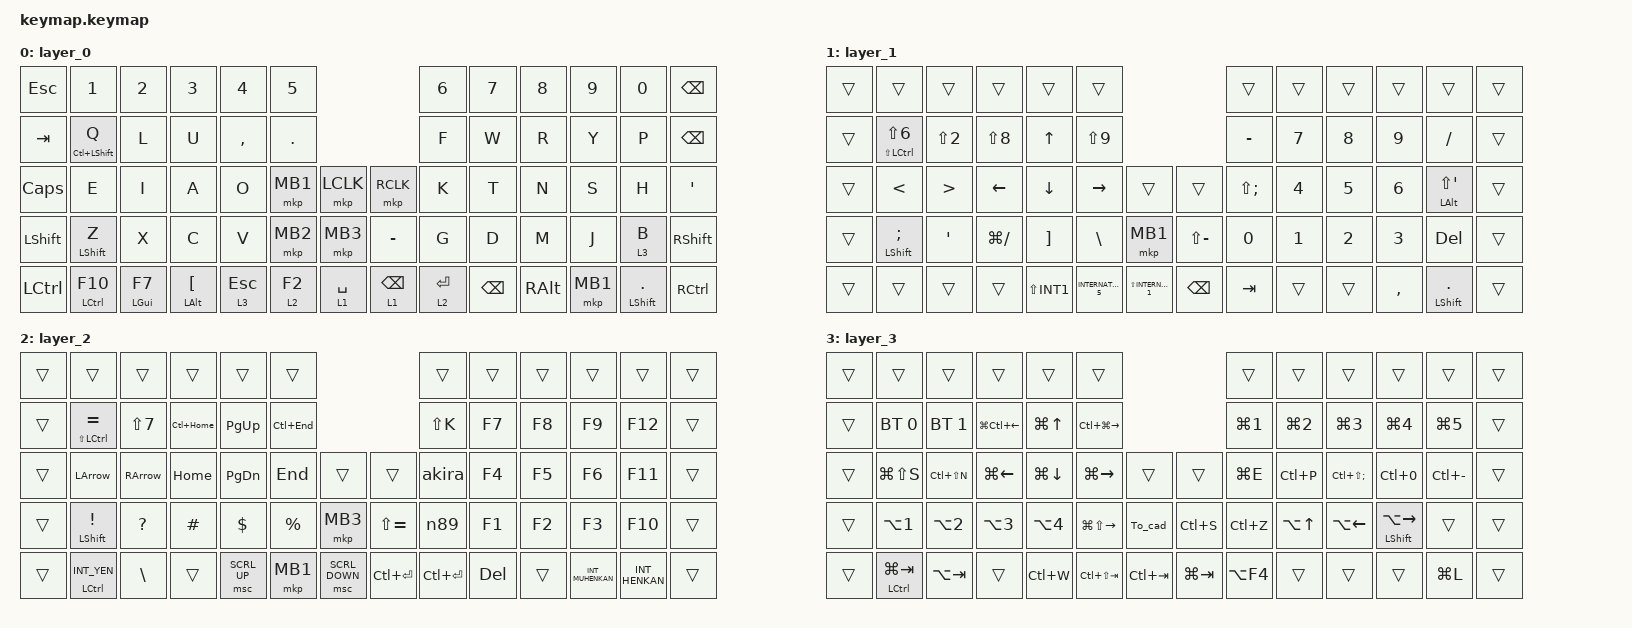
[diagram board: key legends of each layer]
#include <behaviors.dtsi>
#include <dt-bindings/zmk/bt.h>
#include <dt-bindings/zmk/keys.h>
#include <dt-bindings/zmk/pointing.h>

/ {
    combos {
        compatible = "zmk,combos";

        bt_clear {
            bindings = <&bt BT_CLR>;
            key-positions = <28 29>;
            layers = <2>;
        };

        henkan {
            bindings = <&kp INTERNATIONAL_4>;
            key-positions = <16 17>;
        };

        muhenkan {
            bindings = <&kp INT_MUHENKAN>;
            key-positions = <12 13>;
        };

        scr_up {
            bindings = <&msc SCRL_UP>;
            key-positions = <6 7>;
        };

        scr_down {
            bindings = <&msc SCRL_DOWN>;
            key-positions = <28 29>;
        };

        Alt {
            bindings = <&kp LEFT_ALT>;
            key-positions = <19 31>;
        };
    };

    macros {
        akira: akira {
            compatible = "zmk,behavior-macro";
            #binding-cells = <0>;
            bindings = <&kp A &kp K &kp I &kp R &kp A>;
            label = "AKIRA";
        };

        n89: n89 {
            compatible = "zmk,behavior-macro";
            #binding-cells = <0>;
            bindings = <&kp N8 &kp NUMBER_9>;
            label = "N89";
        };

        LArrow: LArrow {
            compatible = "zmk,behavior-macro";
            #binding-cells = <0>;
            bindings = <&kp LESS_THAN &kp MINUS>;
            label = "LARROW";
        };

        RArrow: RArrow {
            compatible = "zmk,behavior-macro";
            #binding-cells = <0>;
            bindings = <&kp MINUS &kp GREATER_THAN>;
            label = "RARROW";
        };

        To_cad: To_cad {
            compatible = "zmk,behavior-macro";
            #binding-cells = <0>;
            bindings = <&kp LS(F10) &kp W &kp N &kp DOWN &kp ENTER>;
            label = "TO_CAD";
        };
    };

    keymap {
        compatible = "zmk,keymap";

        layer_0 {
            bindings = <
&kp ESC    &kp N1                &kp N2       &kp N3                 &kp N4        &kp N5                                    &kp N6       &kp N7    &kp N8    &kp N9    &kp N0                 &kp BSPC
&kp TAB    &mt LC(LEFT_SHIFT) Q  &kp L        &kp U                  &kp COMMA     &kp PERIOD                                &kp F        &kp W     &kp R     &kp Y     &kp P                  &kp BSPC
&kp CAPS   &kp E                 &kp I        &kp A                  &kp O         &mkp MB1    &mkp LCLK    &mkp RCLK        &kp K        &kp T     &kp N     &kp S     &kp H                  &kp SQT
&kp LSHFT  &mt LEFT_SHIFT Z      &kp X        &kp C                  &kp V         &mkp MB2    &mkp MB3     &kp MINUS        &kp G        &kp D     &kp M     &kp J     &lt 3 B                &kp RSHFT
&kp LCTRL  &mt LCTRL F10         &mt LGUI F7  &mt LALT LEFT_BRACKET  &lt 3 ESCAPE  &lt 2 F2    &lt 1 SPACE  &lt 1 BACKSPACE  &lt 2 ENTER  &kp BSPC  &kp RALT  &mkp MB1  &mt LEFT_SHIFT PERIOD  &kp RCTRL
            >;
        };

        layer_1 {
            bindings = <
&trans  &trans                             &trans            &trans            &trans             &trans                                                       &trans             &trans        &trans        &trans        &trans                 &trans
&trans  &mt LS(LEFT_CONTROL) LS(NUMBER_6)  &kp LS(NUMBER_2)  &kp LS(NUMBER_8)  &kp UP             &kp LS(NUMBER_9)                                             &kp MINUS          &kp N7        &kp N8        &kp N9        &kp SLASH              &trans
&trans  &kp LT                             &kp GT            &kp LEFT_ARROW    &kp DOWN           &kp RIGHT            &trans                   &trans         &kp LS(SEMICOLON)  &kp NUMBER_4  &kp N5        &kp NUMBER_6  &mt LEFT_ALT LS(SQT)   &trans
&trans  &mt LEFT_SHIFT SEMICOLON           &kp SINGLE_QUOTE  &kp LG(SLASH)     &kp RIGHT_BRACKET  &kp BACKSLASH        &mkp MB1                 &kp LS(MINUS)  &kp N0             &kp NUMBER_1  &kp NUMBER_2  &kp NUMBER_3  &kp DELETE             &trans
&trans  &trans                             &trans            &trans            &kp LS(INT1)       &kp INTERNATIONAL_5  &kp LS(INTERNATIONAL_1)  &kp BACKSPACE  &kp TAB            &trans        &trans        &kp COMMA     &mt LEFT_SHIFT PERIOD  &trans
            >;
        };

        layer_2 {
            bindings = <
&trans  &trans                      &trans            &trans        &trans         &trans                                      &trans         &trans   &trans  &trans            &trans          &trans
&trans  &mt LS(LEFT_CONTROL) EQUAL  &kp LS(NUMBER_7)  &kp LC(HOME)  &kp PAGE_UP    &kp LC(END)                                 &kp LS(K)      &kp F7   &kp F8  &kp F9            &kp F12         &trans
&trans  &LArrow                     &RArrow           &kp HOME      &kp PAGE_DOWN  &kp END      &trans          &trans         &akira         &kp F4   &kp F5  &kp F6            &kp F11         &trans
&trans  &mt LEFT_SHIFT EXCLAMATION  &kp QUESTION      &kp HASH      &kp DOLLAR     &kp PERCENT  &mkp MB3        &kp LS(EQUAL)  &n89           &kp F1   &kp F2  &kp F3            &kp F10         &trans
&trans  &mt LEFT_CONTROL INT_YEN    &kp BACKSLASH     &trans        &msc SCRL_UP   &mkp MB1     &msc SCRL_DOWN  &kp LC(ENTER)  &kp LC(ENTER)  &kp DEL  &trans  &kp INT_MUHENKAN  &kp INT_HENKAN  &trans
            >;
        };

        layer_3 {
            bindings = <
&trans  &trans                    &trans            &trans            &trans            &trans                                       &trans            &trans            &trans                 &trans                          &trans            &trans
&trans  &bt BT_SEL 0              &bt BT_SEL 1      &kp LG(LC(LEFT))  &kp LG(UP)        &kp LC(LG(RIGHT))                            &kp LG(NUMBER_1)  &kp LG(NUMBER_2)  &kp LG(NUMBER_3)       &kp LG(NUMBER_4)                &kp LG(NUMBER_5)  &trans
&trans  &kp LG(LS(S))             &kp LC(LS(N))     &kp LG(LEFT)      &kp LG(DOWN)      &kp LG(RIGHT)      &trans       &trans       &kp LG(E)         &kp LC(P)         &kp LC(LS(SEMICOLON))  &kp LC(NUMBER_0)                &kp LC(MINUS)     &trans
&trans  &kp LA(NUMBER_1)          &kp LA(NUMBER_2)  &kp LA(NUMBER_3)  &kp LA(NUMBER_4)  &kp LG(LS(RIGHT))  &To_cad      &kp LC(S)    &kp LC(Z)         &kp LA(UP_ARROW)  &kp LA(LEFT)           &mt LEFT_SHIFT LA(RIGHT_ARROW)  &trans            &trans
&trans  &mt LEFT_CONTROL LG(TAB)  &kp LA(TAB)       &trans            &kp LC(W)         &kp LC(LS(TAB))    &kp LC(TAB)  &kp LG(TAB)  &kp LA(F4)        &trans            &trans                 &trans                          &kp LG(L)         &trans
            >;
        };
    };
};
